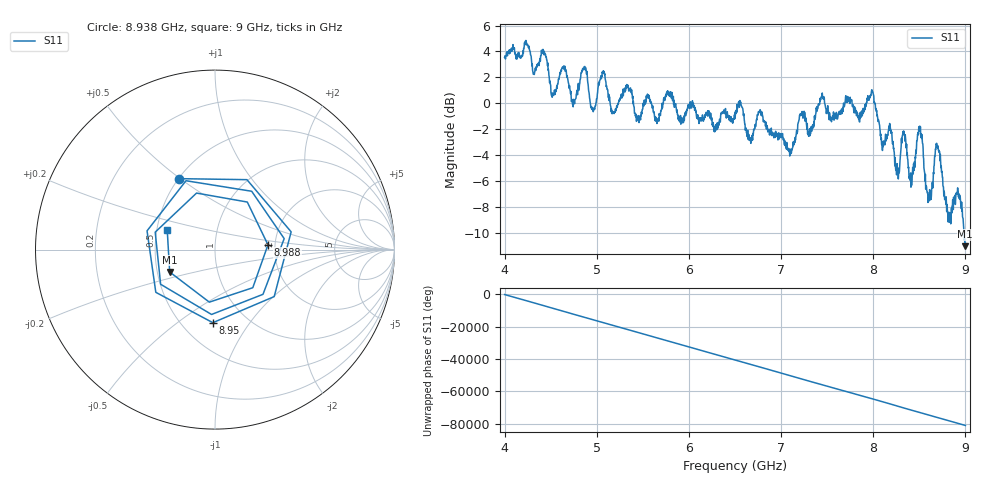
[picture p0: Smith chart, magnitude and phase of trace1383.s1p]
! Created with skrf 1.8.0 (http://scikit-rf.org).
# Hz S RI R 50.0
!freq ReS11 ImS11
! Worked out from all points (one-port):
!   1601 points, 4 GHz to 9 GHz, reference 50 ohm
!   lowest |S11| = -11.0 dB at 8.997 GHz (marker M1), VSWR 1.78, Z = 29.1 - j7.86 ohm
!   |S11| at or under -10 dB: 8.984664 GHz to end of sweep
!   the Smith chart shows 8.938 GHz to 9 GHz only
!   S11 on the Smith chart (normalised r, x): 8.938 GHz: 0.50, +0.49; 8.95 GHz: 0.70, -0.68; 8.988 GHz: 1.83, +0.11; 9 GHz: 0.57, +0.14
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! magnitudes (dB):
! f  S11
! 4 GHz  3.5
! 4.425 GHz  3.8
! 4.528 GHz  0.7
! 4.625 GHz  2.8
! 4.747 GHz  0.3
! 4.859 GHz  2.7
! 4.953 GHz  -0.5
! 5.062 GHz  2.3
! 5.25 GHz  0.4
! 5.875 GHz  -0.9
! 6.5 GHz  -0.7
! 7.125 GHz  -3.4
! 7.444 GHz  0.7
! 7.75 GHz  0.5
! 7.988 GHz  1.0
! 8.259 GHz  -4.6
! 8.328 GHz  -2.4
! 8.375 GHz  -4.3
! 8.419 GHz  -6.0
! 8.506 GHz  -1.8
! 8.606 GHz  -7.1
! 8.697 GHz  -3.4
! 8.819 GHz  -8.6
! 8.938 GHz  -7.1
! 8.95 GHz  -7.8
! 8.988 GHz  -10.6
! 8.997 GHz  -11.0
! 9 GHz  -10.8
